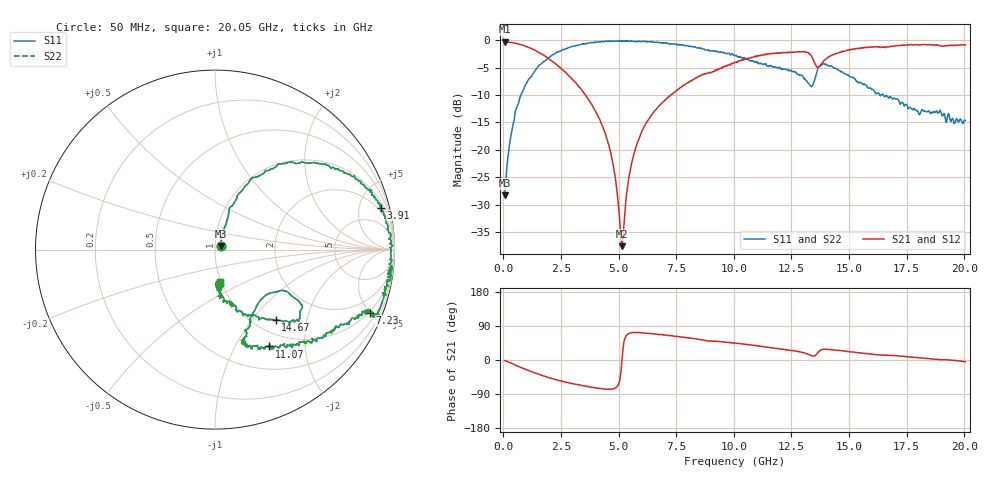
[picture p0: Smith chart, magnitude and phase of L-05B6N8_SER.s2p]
! P/N: L-05C6N8_SER
! Measured by Marlon
! Sep. 23, 2003
! Measure with a Series-through-fixture
#	mhz	s	ma	r	50
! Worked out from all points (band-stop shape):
!   1001 points, 50 MHz to 20.05 GHz, reference 50 ohm
!   highest |S21| = -0.27 dB at 70 MHz (marker M1); lowest = -37.5 dB at 5.15 GHz (marker M2)
!   |S21| within 3 dB of the highest: 10.65 GHz to 13.42 GHz (2.765 GHz wide, 23 % of centre); 14.04 GHz to end of sweep (the widest 2 of 4)
!   lowest |S11| = -28.3 dB at 50 MHz (marker M3), VSWR 1.08, Z = 53.3 + j2.22 ohm
!   |S11| at or under -10 dB: start of sweep to 754.9 MHz; 16.33723 GHz to 16.3921 GHz (54.87 MHz wide, 0.335 % of centre); 16.49 GHz to end of sweep
!   |S22| runs from -28.3 to 0.0 dB; largest |S21 - S12| = 0
!   S11 on the Smith chart (normalised r, x): 50 MHz: 1.07, +0.04; 3.91 GHz: 1.48, +7.77; 7.23 GHz: 0.94, -4.92; 11.07 GHz: 0.79, -1.38; 14.67 GHz: 1.23, -1.33; 20.05 GHz: 0.99, -0.37
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50  0.03865 32.5  0.9689 -1.6  0.9689 -1.6  0.03865 32.5
70  0.04327 41.0  0.969 -1.8  0.969 -1.8  0.04327 41.0
470  0.1887 68.0  0.9447 -11.4  0.9447 -11.4  0.1887 68.0
1010  0.4099 63.5  0.8727 -25.9  0.8727 -25.9  0.4099 63.5
2050  0.716 42.2  0.6604 -47.9  0.6604 -47.9  0.716 42.2
3390  0.9167 21.3  0.3531 -67.2  0.3531 -67.2  0.9167 21.3
3910  0.9546 14.2  0.2433 -72.6  0.2433 -72.6  0.9546 14.2
4670  0.9786 0.7  0.09083 -77.2  0.09083 -77.2  0.9786 0.7
5150  0.9706 -6.9  0.01326 4.4  0.01326 4.4  0.9706 -6.9
5430  0.9862 -10.3  0.05401 69.5  0.05401 69.5  0.9862 -10.3
5690  0.9748 -12.6  0.09653 72.8  0.09653 72.8  0.9748 -12.6
6110  0.9811 -21.6  0.1638 71.0  0.1638 71.0  0.9811 -21.6
6730  0.9578 -22.6  0.2488 67.3  0.2488 67.3  0.9578 -22.6
7230  0.9307 -22.2  0.3133 63.7  0.3133 63.7  0.9307 -22.2
10050  0.7208 -46.1  0.6256 44.1  0.6256 44.1  0.7208 -46.1
11070  0.6176 -60.9  0.7272 36.9  0.7272 36.9  0.6176 -60.9
12210  0.5437 -73.3  0.7717 27.6  0.7717 27.6  0.5437 -73.3
13390  0.3786 -43.5  0.7054 10.8  0.7054 10.8  0.3786 -43.5
13750  0.5842 -34.9  0.5863 25.4  0.5863 25.4  0.5842 -34.9
14670  0.5185 -49.3  0.7905 24.5  0.7905 24.5  0.5185 -49.3
16730  0.2964 -75.9  0.8693 12.0  0.8693 12.0  0.2964 -75.9
20050  0.1847 -81.0  0.9043 -4.6  0.9043 -4.6  0.1847 -81.0
